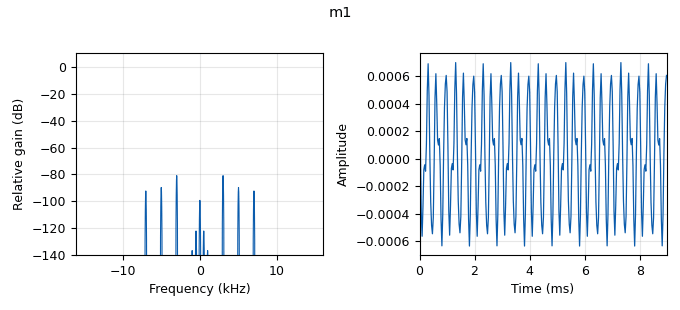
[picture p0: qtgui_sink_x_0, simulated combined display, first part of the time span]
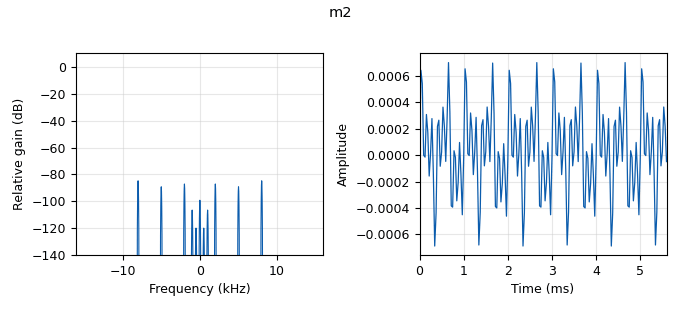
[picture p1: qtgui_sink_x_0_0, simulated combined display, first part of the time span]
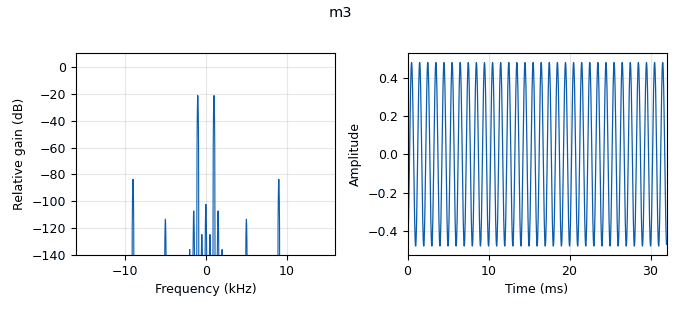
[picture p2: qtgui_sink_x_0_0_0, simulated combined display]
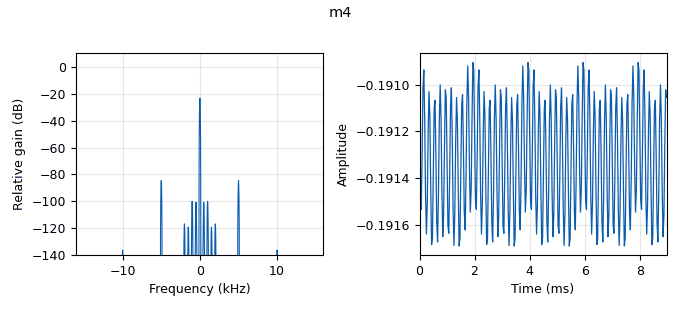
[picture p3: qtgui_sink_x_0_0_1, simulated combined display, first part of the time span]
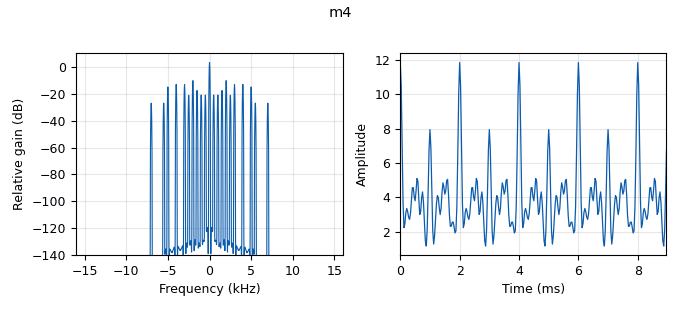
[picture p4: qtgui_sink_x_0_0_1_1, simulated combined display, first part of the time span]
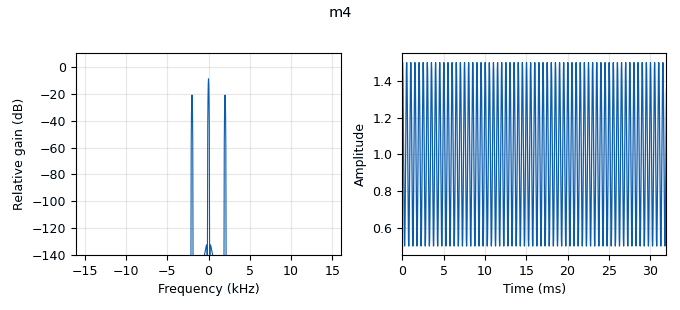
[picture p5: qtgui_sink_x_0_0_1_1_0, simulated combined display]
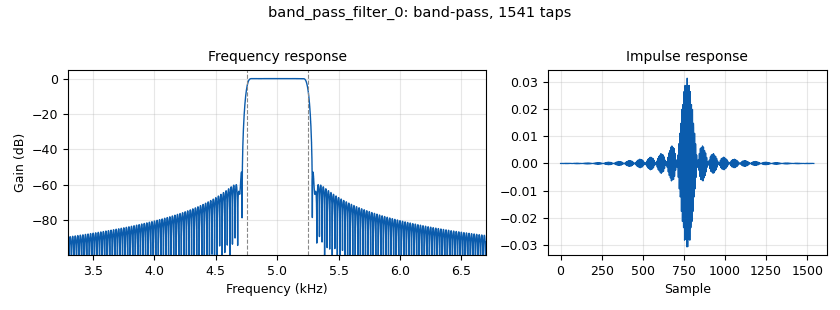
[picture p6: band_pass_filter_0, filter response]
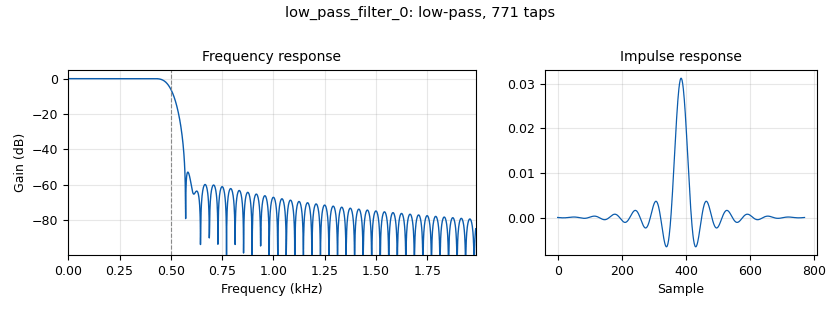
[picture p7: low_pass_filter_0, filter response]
options:
  parameters:
    generate_options: qt_gui
    id: FDM
    output_language: python
    title: Not titled yet
  states: {}

blocks:
- name: samp_rate
  id: variable
  parameters:
    value: '32000'
  states: {}
- name: analog_sig_source_x_2_1
  id: analog_sig_source_x
  parameters:
    amp: '1'
    freq: '500'
    offset: '1'
    phase: '0'
    samp_rate: samp_rate
    type: float
    waveform: analog.GR_COS_WAVE
  states: {}
- name: analog_sig_source_x_2_1_0
  id: analog_sig_source_x
  parameters:
    amp: '1'
    freq: '1000'
    offset: '1'
    phase: '0'
    samp_rate: samp_rate
    type: float
    waveform: analog.GR_COS_WAVE
  states: {}
- name: analog_sig_source_x_2_1_1
  id: analog_sig_source_x
  parameters:
    amp: '1'
    freq: '2000'
    offset: '1'
    phase: '0'
    samp_rate: samp_rate
    type: float
    waveform: analog.GR_COS_WAVE
  states: {}
- name: analog_sig_source_x_2_1_2
  id: analog_sig_source_x
  parameters:
    amp: '1'
    freq: '1500'
    offset: '1'
    phase: '0'
    samp_rate: samp_rate
    type: float
    waveform: analog.GR_COS_WAVE
  states: {}
- name: analog_sig_source_x_2_1_3
  id: analog_sig_source_x
  parameters:
    amp: '1'
    freq: '5000'
    offset: '1'
    phase: '0'
    samp_rate: samp_rate
    type: float
    waveform: analog.GR_COS_WAVE
  states: {}
- name: analog_sig_source_x_2_1_4
  id: analog_sig_source_x
  parameters:
    amp: '1'
    freq: '4000'
    offset: '1'
    phase: '0'
    samp_rate: samp_rate
    type: float
    waveform: analog.GR_COS_WAVE
  states: {}
- name: analog_sig_source_x_2_1_5
  id: analog_sig_source_x
  parameters:
    amp: '1'
    freq: '2000'
    offset: '1'
    phase: '0'
    samp_rate: samp_rate
    type: float
    waveform: analog.GR_COS_WAVE
  states: {}
- name: analog_sig_source_x_2_1_6
  id: analog_sig_source_x
  parameters:
    amp: '1'
    freq: '3000'
    offset: '1'
    phase: '0'
    samp_rate: samp_rate
    type: float
    waveform: analog.GR_COS_WAVE
  states: {}
- name: band_pass_filter_0
  id: band_pass_filter
  parameters:
    gain: '1'
    high_cutoff_freq: '5250'
    interp: '1'
    low_cutoff_freq: '4750'
    samp_rate: samp_rate
    type: interp_fir_filter_fff
    width: '50'
    win: window.WIN_HAMMING
  states: {}
- name: band_pass_filter_0_0
  id: band_pass_filter
  parameters:
    gain: '1'
    high_cutoff_freq: '5250'
    interp: '1'
    low_cutoff_freq: '4750'
    samp_rate: samp_rate
    type: interp_fir_filter_fff
    width: '50'
    win: window.WIN_HAMMING
  states: {}
- name: band_pass_filter_0_1
  id: band_pass_filter
  parameters:
    gain: '1'
    high_cutoff_freq: '5250'
    interp: '1'
    low_cutoff_freq: '4750'
    samp_rate: samp_rate
    type: interp_fir_filter_fff
    width: '50'
    win: window.WIN_HAMMING
  states: {}
- name: band_pass_filter_0_2
  id: band_pass_filter
  parameters:
    gain: '1'
    high_cutoff_freq: '5250'
    interp: '1'
    low_cutoff_freq: '4750'
    samp_rate: samp_rate
    type: interp_fir_filter_fff
    width: '50'
    win: window.WIN_HAMMING
  states: {}
- name: blocks_add_xx_0
  id: blocks_add_xx
  parameters:
    num_inputs: '4'
    type: float
  states: {}
- name: blocks_multiply_xx_1
  id: blocks_multiply_xx
  parameters:
    type: float
  states: {}
- name: blocks_multiply_xx_1_0
  id: blocks_multiply_xx
  parameters:
    type: float
  states: {}
- name: blocks_multiply_xx_1_1
  id: blocks_multiply_xx
  parameters:
    type: float
  states: {}
- name: blocks_multiply_xx_1_1_0
  id: blocks_multiply_xx
  parameters:
    type: float
  states: {}
- name: blocks_multiply_xx_1_1_1
  id: blocks_multiply_xx
  parameters:
    type: float
  states: {}
- name: blocks_multiply_xx_1_1_2
  id: blocks_multiply_xx
  parameters:
    type: float
  states: {}
- name: blocks_multiply_xx_1_1_3
  id: blocks_multiply_xx
  parameters:
    type: float
  states: {}
- name: blocks_multiply_xx_1_2
  id: blocks_multiply_xx
  parameters:
    type: float
  states: {}
- name: low_pass_filter_0
  id: low_pass_filter
  parameters:
    cutoff_freq: '500'
    gain: '1'
    interp: '1'
    samp_rate: samp_rate
    type: interp_fir_filter_fff
    width: '100'
    win: window.WIN_HAMMING
  states: {}
- name: low_pass_filter_0_0
  id: low_pass_filter
  parameters:
    cutoff_freq: '1500'
    gain: '1'
    interp: '1'
    samp_rate: samp_rate
    type: interp_fir_filter_fff
    width: '100'
    win: window.WIN_HAMMING
  states: {}
- name: low_pass_filter_0_1
  id: low_pass_filter
  parameters:
    cutoff_freq: '2000'
    gain: '1'
    interp: '1'
    samp_rate: samp_rate
    type: interp_fir_filter_fff
    width: '100'
    win: window.WIN_HAMMING
  states: {}
- name: low_pass_filter_0_2
  id: low_pass_filter
  parameters:
    cutoff_freq: '1000'
    gain: '1'
    interp: '1'
    samp_rate: samp_rate
    type: interp_fir_filter_fff
    width: '100'
    win: window.WIN_HAMMING
  states: {}
- name: low_pass_filter_0_3
  id: low_pass_filter
  parameters:
    cutoff_freq: '2000'
    gain: '1'
    interp: '1'
    samp_rate: '32000'
    type: interp_fir_filter_fff
    width: '1000'
    win: window.WIN_HAMMING
  states: {}
- name: low_pass_filter_0_4
  id: low_pass_filter
  parameters:
    cutoff_freq: '1500'
    gain: '1'
    interp: '1'
    samp_rate: '32000'
    type: interp_fir_filter_fff
    width: '1000'
    win: window.WIN_HAMMING
  states: {}
- name: low_pass_filter_0_5
  id: low_pass_filter
  parameters:
    cutoff_freq: '500'
    gain: '1'
    interp: '1'
    samp_rate: '32000'
    type: interp_fir_filter_fff
    width: '1000'
    win: window.WIN_HAMMING
  states: {}
- name: low_pass_filter_0_6
  id: low_pass_filter
  parameters:
    cutoff_freq: '1000'
    gain: '1'
    interp: '1'
    samp_rate: '32000'
    type: interp_fir_filter_fff
    width: '1000'
    win: window.WIN_HAMMING
  states: {}
- name: qtgui_sink_x_0
  id: qtgui_sink_x
  parameters:
    bw: samp_rate
    fc: '0'
    fftsize: '1024'
    name: '"m1"'
    type: float
  states: {}
- name: qtgui_sink_x_0_0
  id: qtgui_sink_x
  parameters:
    bw: samp_rate
    fc: '0'
    fftsize: '1024'
    name: '"m2"'
    type: float
  states: {}
- name: qtgui_sink_x_0_0_0
  id: qtgui_sink_x
  parameters:
    bw: samp_rate
    fc: '0'
    fftsize: '1024'
    name: '"m3"'
    type: float
  states: {}
- name: qtgui_sink_x_0_0_1
  id: qtgui_sink_x
  parameters:
    bw: samp_rate
    fc: '0'
    fftsize: '1024'
    name: '"m4"'
    type: float
  states: {}
- name: qtgui_sink_x_0_0_1_1
  id: qtgui_sink_x
  parameters:
    bw: samp_rate
    fc: '0'
    fftsize: '1024'
    name: '"m4"'
    type: float
  states: {}
- name: qtgui_sink_x_0_0_1_1_0
  id: qtgui_sink_x
  parameters:
    bw: samp_rate
    fc: '0'
    fftsize: '1024'
    name: '"m4"'
    type: float
  states: {}
- name: qtgui_sink_x_0_0_1_1_1
  id: qtgui_sink_x
  parameters:
    bw: samp_rate
    fc: '0'
    fftsize: '1024'
    name: '"m4"'
    type: float
  states: {}
- name: qtgui_sink_x_0_0_1_1_2
  id: qtgui_sink_x
  parameters:
    bw: samp_rate
    fc: '0'
    fftsize: '1024'
    name: '"m4"'
    type: float
  states: {}
- name: qtgui_sink_x_0_0_1_1_3
  id: qtgui_sink_x
  parameters:
    bw: samp_rate
    fc: '0'
    fftsize: '1024'
    name: '"m4"'
    type: float
  states: {}

connections:
- [analog_sig_source_x_2_1, '0', low_pass_filter_0, '0']
- [analog_sig_source_x_2_1_0, '0', low_pass_filter_0_2, '0']
- [analog_sig_source_x_2_1_1, '0', low_pass_filter_0_1, '0']
- [analog_sig_source_x_2_1_2, '0', low_pass_filter_0_0, '0']
- [analog_sig_source_x_2_1_3, '0', blocks_multiply_xx_1, '0']
- [analog_sig_source_x_2_1_3, '0', blocks_multiply_xx_1_1_0, '1']
- [analog_sig_source_x_2_1_4, '0', blocks_multiply_xx_1_0, '0']
- [analog_sig_source_x_2_1_4, '0', blocks_multiply_xx_1_1_1, '1']
- [analog_sig_source_x_2_1_5, '0', blocks_multiply_xx_1_1, '0']
- [analog_sig_source_x_2_1_5, '0', blocks_multiply_xx_1_1_2, '1']
- [analog_sig_source_x_2_1_6, '0', blocks_multiply_xx_1_1_3, '1']
- [analog_sig_source_x_2_1_6, '0', blocks_multiply_xx_1_2, '0']
- [band_pass_filter_0, '0', blocks_multiply_xx_1_1_2, '0']
- [band_pass_filter_0_0, '0', blocks_multiply_xx_1_1_0, '0']
- [band_pass_filter_0_1, '0', blocks_multiply_xx_1_1_3, '0']
- [band_pass_filter_0_2, '0', blocks_multiply_xx_1_1_1, '0']
- [blocks_add_xx_0, '0', band_pass_filter_0, '0']
- [blocks_add_xx_0, '0', band_pass_filter_0_0, '0']
- [blocks_add_xx_0, '0', band_pass_filter_0_1, '0']
- [blocks_add_xx_0, '0', band_pass_filter_0_2, '0']
- [blocks_add_xx_0, '0', qtgui_sink_x_0_0_1_1, '0']
- [blocks_multiply_xx_1, '0', blocks_add_xx_0, '3']
- [blocks_multiply_xx_1_0, '0', blocks_add_xx_0, '2']
- [blocks_multiply_xx_1_1, '0', blocks_add_xx_0, '0']
- [blocks_multiply_xx_1_1_0, '0', low_pass_filter_0_3, '0']
- [blocks_multiply_xx_1_1_1, '0', low_pass_filter_0_4, '0']
- [blocks_multiply_xx_1_1_2, '0', low_pass_filter_0_5, '0']
- [blocks_multiply_xx_1_1_3, '0', low_pass_filter_0_6, '0']
- [blocks_multiply_xx_1_2, '0', blocks_add_xx_0, '1']
- [low_pass_filter_0, '0', blocks_multiply_xx_1_1, '1']
- [low_pass_filter_0, '0', qtgui_sink_x_0_0_1_1_2, '0']
- [low_pass_filter_0_0, '0', blocks_multiply_xx_1_0, '1']
- [low_pass_filter_0_0, '0', qtgui_sink_x_0_0_1_1_1, '0']
- [low_pass_filter_0_1, '0', blocks_multiply_xx_1, '1']
- [low_pass_filter_0_1, '0', qtgui_sink_x_0_0_1_1_0, '0']
- [low_pass_filter_0_2, '0', blocks_multiply_xx_1_2, '1']
- [low_pass_filter_0_2, '0', qtgui_sink_x_0_0_1_1_3, '0']
- [low_pass_filter_0_3, '0', qtgui_sink_x_0_0_1, '0']
- [low_pass_filter_0_4, '0', qtgui_sink_x_0_0_0, '0']
- [low_pass_filter_0_5, '0', qtgui_sink_x_0, '0']
- [low_pass_filter_0_6, '0', qtgui_sink_x_0_0, '0']

metadata:
  file_format: 1
  grc_version: 3.10.7.0
